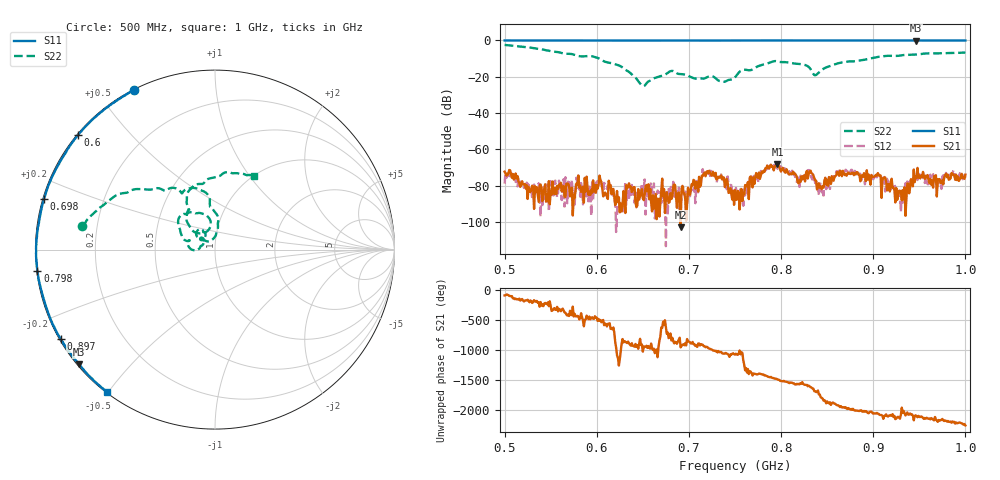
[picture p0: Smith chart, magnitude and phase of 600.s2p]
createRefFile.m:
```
clear;
clc;
%% 600 File
%vna meas where the device is in port 2 and i took every 1 MHz in dB. You only need
%every 5 MHz normally. I took all the way from 500 MHz to 1 GHz, you only need up to 700
%MHz.
vna=dlmread('C:\Users\scdb\Documents\MATLAB\SAtimo\Calib\dataFor600Dipoles\600.s2p','',5,0);
k=1;
for i=101:5:205
    f(k)=vna(i,1);
    s11dB(k)=vna(i,8);
    k=k+1;
end

mat(:,1)=f';mat(:,2)=s11dB';

mat(:,3)=10.^(mat(:,2)./20); % s11 in linear
mat(:,4)=-10*log10(1-mat(:,3).*mat(:,3)); %mismatch loss in dB
mat(:,5)=-0.3; %rad eff in dB
mat(:,6)=mat(:,5)-mat(:,4);

reffile(:,1)=mat(:,1)/10^6;reffile(:,2)=mat(:,2);reffile(:,3)=0;reffile(:,4)=mat(:,6);

fileID = fopen('HomeRef600.ref','w');
fprintf(fileID,'Reference for Data 600 \r\n freq MHz \r\n s11 dB \r\n gain unknown \r\n estim eff dB \r\n');
fprintf(fileID,'%f %f %f %f \r\n',reffile');
fclose(fileID);

%% 500 file
%vna meas where the device is in port 2 and i took every 1 MHz in dB. You only need
%every 5 MHz normally. I took all the way to 1 GHz, you only need up to 600
%MHz.
vna=dlmread('C:\Users\scdb\Documents\MATLAB\SAtimo\Calib\dataFor600Dipoles\500.s2p','',5,0);
k=1;
for i=1:5:105
    f(k)=vna(i,1);
    s11dB(k)=vna(i,8);
    k=k+1;
end
mat(:,1)=f';mat(:,2)=s11dB';

mat(:,3)=10.^(mat(:,2)./20); % s11 in linear
mat(:,4)=-10*log10(1-mat(:,3).*mat(:,3)); %mismatch loss in dB
mat(:,5)=-0.3; %rad eff in dB
mat(:,6)=mat(:,5)-mat(:,4);

reffile(:,1)=mat(:,1)/10^6;reffile(:,2)=mat(:,2);reffile(:,3)=0;reffile(:,4)=mat(:,6);

fileID = fopen('HomeRef500.ref','w');
fprintf(fileID,'Reference for Data 500 \r\n freq MHz \r\n s11 dB \r\n gain unknown \r\n estim eff dB \r\n');
fprintf(fileID,'%f %f %f %f \r\n',reffile');
fclose(fileID);
```
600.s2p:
#  HZ  S  DB  R  50.00
! Rohde & Schwarz ZVB8 2Ports - Version 2.81 - 1145.1010k08 SN: 100113
! Date: 2014-04-03 01:51:14
! Measurements: S11 S21 S12 S22
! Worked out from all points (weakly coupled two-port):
!   501 points, 500 MHz to 1 GHz, reference 50 ohm
!   highest |S21| = -68.19 dB at 796 MHz (marker M1); lowest = -102.9 dB at 691 MHz (marker M2)
!   lowest |S11| = -0.1 dB at 946 MHz (marker M3), VSWR 195.00, Z = 0.291 - j18.3 ohm
!   |S11| at or under -10 dB: nowhere
!   |S22| runs from -25.2 to -2.5 dB; largest |S21 - S12| = 0.00031
!   S11 on the Smith chart (normalised r, x): 500 MHz: 0.00, +0.61; 600 MHz: 0.00, +0.36; 698 MHz: 0.00, +0.15; 798 MHz: 0.00, -0.06; 897 MHz: 0.00, -0.27; 1 GHz: 0.00, -0.50
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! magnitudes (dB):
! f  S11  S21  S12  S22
! 500 MHz  0.0  -72.3  -78.9  -2.5
! 600 MHz  0.0  -79.7  -77.8  -9.5
! 650 MHz  -0.1  -87.0  -80.4  -25.1
! 691 MHz  -0.1  -102.9  -86.2  -18.5
! 698 MHz  -0.1  -90.5  -89.7  -19.1
! 750 MHz  0.0  -82.5  -85.7  -20.4
! 796 MHz  0.0  -68.2  -70.7  -11.5
! 798 MHz  0.0  -70.0  -69.1  -11.8
! 897 MHz  -0.1  -79.5  -75.9  -10.0
! 946 MHz  -0.1  -75.2  -74.6  -7.8
! 1 GHz  0.0  -73.9  -75.7  -6.7
